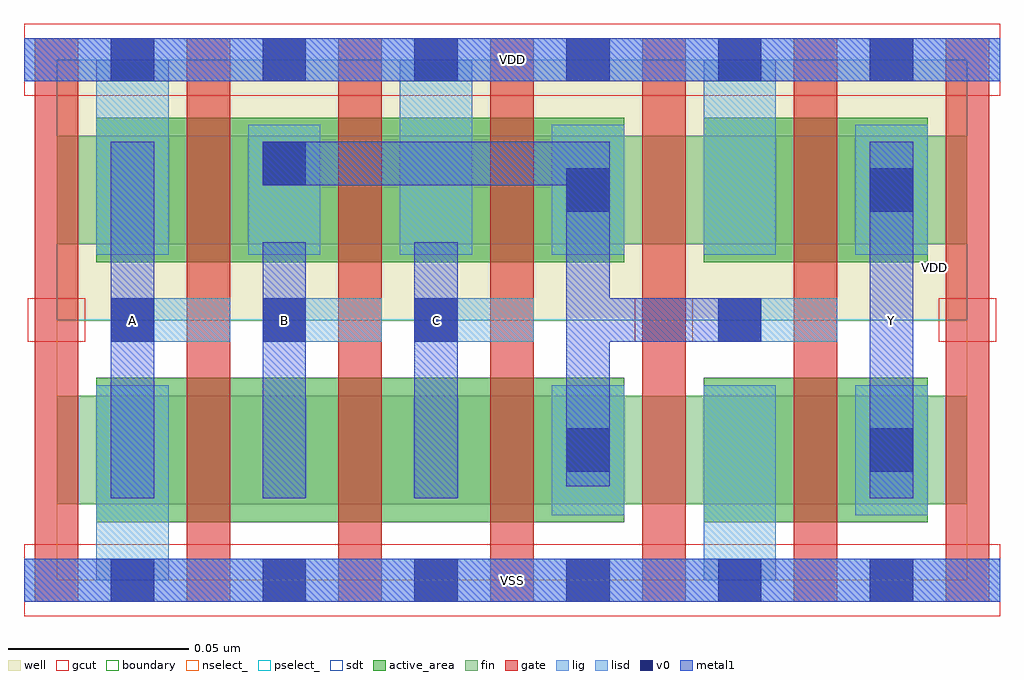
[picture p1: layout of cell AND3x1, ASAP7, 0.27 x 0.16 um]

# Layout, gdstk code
import gdstk
lib = gdstk.Library(unit=1e-6, precision=2.5e-10)
def R(c, l, rs):  # rectangles x0, y0, x1, y1
    for r in rs: c.add(gdstk.rectangle(r[:2], r[2:], *l))
def A(c, l, x, y, w, h, nx, ny, dx, dy):  # array of equal rectangles
    R(c, l, [(x+i*dx, y+j*dy, x+i*dx+w, y+j*dy+h) for i in range(nx) for j in range(ny)])
def P(c, l, *ps):  # polygons
    for p in ps: c.add(gdstk.Polygon(p, *l))
well = (1, 0)
fin = (2, 0)
gate = (7, 0)
gcut = (10, 0)
active_area = (11, 0)
nselect_ = (12, 0)
pselect_ = (13, 0)
lig = (16, 0)
lisd = (17, 0)
v0 = (18, 0)
metal1 = (19, 0)
sdt = (88, 0)
boundary = (100, 0)

and3x1 = lib.new_cell('AND3x1')
R(and3x1, well, [(0,0.072,0.252,0.144)])
R(and3x1, fin, [(0,0.021,0.252,0.051), (0,0.093,0.252,0.123)])
A(and3x1, gate, -0.006, -0.006, 0.012, 0.156, 7, 1, 0.042, 0)
R(and3x1, gcut, [(-0.009,-0.01,0.261,0.01), (-0.008,0.066,0.008,0.078), (0.16,0.066,0.176,0.078), (0.244,0.066,0.26,0.078), (-0.009,0.134,0.261,0.154)])
R(and3x1, active_area, [(0.011,0.016,0.157,0.056), (0.179,0.016,0.241,0.056), (0.011,0.088,0.157,0.128), (0.179,0.088,0.241,0.128)])
R(and3x1, nselect_, [(0,0,0.252,0.072)])
R(and3x1, pselect_, [(0,0.072,0.252,0.144)])
A(and3x1, lig, 0.015, 0.066, 0.033, 0.012, 3, 1, 0.042, 0)
R(and3x1, lig, [(-0.009,-0.006,0.261,0.006), (0.183,0.066,0.216,0.078), (-0.009,0.138,0.261,0.15)])
A(and3x1, lisd, 0.011, 0.09, 0.02, 0.054, 3, 1, 0.084, 0)
A(and3x1, lisd, 0.053, 0.09, 0.02, 0.036, 3, 1, 0.084, 0)
R(and3x1, lisd, [(0.011,0,0.031,0.054), (0.179,0,0.199,0.054), (0.137,0.018,0.157,0.054), (0.221,0.018,0.241,0.054)])
A(and3x1, v0, 0.015, -0.006, 0.012, 0.012, 6, 2, 0.042, 0.144)
A(and3x1, v0, 0.015, 0.066, 0.012, 0.012, 3, 1, 0.042, 0)
R(and3x1, v0, [(0.141,0.03,0.153,0.042), (0.225,0.03,0.237,0.042), (0.183,0.066,0.195,0.078), (0.141,0.102,0.153,0.114), (0.225,0.102,0.237,0.114), (0.057,0.1092,0.069,0.1212)])
R(and3x1, metal1, [(-0.009,-0.006,0.261,0.006), (0.015,0.0227,0.027,0.1212), (0.057,0.0227,0.069,0.0935), (0.099,0.0227,0.111,0.0935), (0.225,0.0227,0.237,0.1212), (-0.009,0.138,0.261,0.15)])
P(and3x1, metal1, [(0.195,0.066),(0.195,0.078),(0.153,0.078),(0.153,0.1212),(0.057,0.1212),(0.057,0.1092),(0.141,0.1092),(0.141,0.026),(0.153,0.026),(0.153,0.066)])
A(and3x1, sdt, 0.137, 0.021, 0.02, 0.03, 3, 1, 0.042, 0)
A(and3x1, sdt, 0.011, 0.093, 0.02, 0.03, 6, 1, 0.042, 0)
R(and3x1, sdt, [(0.011,0.021,0.031,0.051)])
R(and3x1, boundary, [(0,0,0.252,0.144)])
and3x1.add(gdstk.Label('VDD', (0.243,0.0865), layer=1, texttype=251))
and3x1.add(gdstk.Label('VSS', (0.272,0.0395), layer=3, texttype=251))
and3x1.add(gdstk.Label('B', (0.063,0.072), layer=19, texttype=251))
and3x1.add(gdstk.Label('VDD', (0.126,0.144), layer=19, texttype=251))
and3x1.add(gdstk.Label('VSS', (0.126,0), layer=19, texttype=251))
and3x1.add(gdstk.Label('A', (0.021,0.072), layer=19, texttype=251))
and3x1.add(gdstk.Label('Y', (0.231,0.072), layer=19, texttype=251))
and3x1.add(gdstk.Label('C', (0.105,0.072), layer=19, texttype=251))

lib.write_gds('AND3x1.gds')
